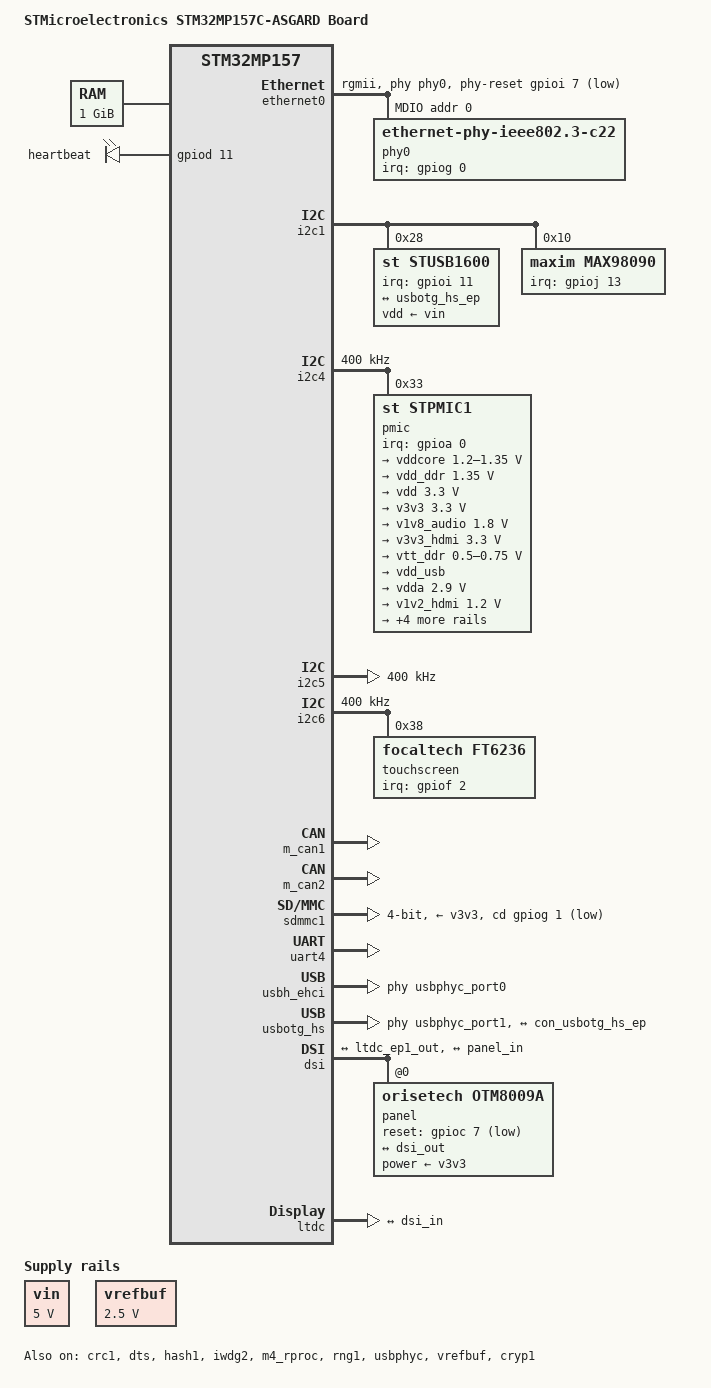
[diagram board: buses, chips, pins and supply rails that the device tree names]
// SPDX-License-Identifier: (GPL-2.0+ OR BSD-3-Clause)
/*
 * Copyright (C) STMicroelectronics 2019 - All Rights Reserved
 * Author: Alexandre Torgue <alexandre.torgue@st.com> for STMicroelectronics.
 */

/dts-v1/;

#include "stm32mp157.dtsi"
#include "stm32mp15xc.dtsi"
#include "stm32mp15-asgard-pinctrl.dtsi"

#include <dt-bindings/rtc/rtc-stm32.h>
#include <dt-bindings/gpio/gpio.h>
#include <dt-bindings/mfd/st,stpmic1.h>
#include <dt-bindings/net/ti-dp83867.h>

/ {
	model = "STMicroelectronics STM32MP157C-ASGARD Board";
	compatible = "st,stm32mp157-asgard", "st,stm32mp157";

	aliases {
		ethernet0 = &ethernet0;
		serial0 = &uart4;
		serial1 = &usart3;
		serial2 = &uart7;
		serial3 = &usart2;
	};

	chosen {
		stdout-path = "serial0:115200n8";
	};
	
	memory@c0000000 {
		device_type = "memory";
		reg = <0xc0000000 0x40000000>;
	};

	reserved-memory {
		#address-cells = <1>;
		#size-cells = <1>;
		ranges;

		mcuram2: mcuram2@10000000 {
			compatible = "shared-dma-pool";
			reg = <0x10000000 0x40000>;
			no-map;
		};

		vdev0vring0: vdev0vring0@10040000 {
			compatible = "shared-dma-pool";
			reg = <0x10040000 0x1000>;
			no-map;
		};

		vdev0vring1: vdev0vring1@10041000 {
			compatible = "shared-dma-pool";
			reg = <0x10041000 0x1000>;
			no-map;
		};

		vdev0buffer: vdev0buffer@10042000 {
			compatible = "shared-dma-pool";
			reg = <0x10042000 0x4000>;
			no-map;
		};

		mcuram: mcuram@30000000 {
			compatible = "shared-dma-pool";
			reg = <0x30000000 0x40000>;
			no-map;
		};

		retram: retram@38000000 {
			compatible = "shared-dma-pool";
			reg = <0x38000000 0x10000>;
			no-map;
		};

		gpu_reserved: gpu@d4000000 {
			reg = <0xd4000000 0x4000000>;
			no-map;
		};
	};

	led {
		compatible = "gpio-leds";
		led-blue {
			label = "heartbeat";
			gpios = <&gpiod 11 GPIO_ACTIVE_HIGH>;
			linux,default-trigger = "heartbeat";
			default-state = "off";
		};
	};

	sound {
		compatible = "audio-graph-card";
		label = "STM32MP1-DK";
		routing =
			"Playback" , "MCLK",
			"Capture" , "MCLK",
			"MICL" , "Mic Bias";
		/*dais = <&sai2a_port &sai2b_port &i2s2_port>;*/
		status = "okay";
	};

	vin: vin {
		compatible = "regulator-fixed";
		regulator-name = "vin";
		regulator-min-microvolt = <5000000>;
		regulator-max-microvolt = <5000000>;
		regulator-always-on;
	};	
};

&adc {
	pinctrl-names = "default";
	pinctrl-0 = <&adc12_ain_pins_a>, <&adc12_usb_cc_pins_a>;
	vdd-supply = <&vdd>;
	vdda-supply = <&vdd>;
	vref-supply = <&vrefbuf>;
	status = "disabled";
	
	adc1: adc@0 {
		/*
		 * Type-C USB_PWR_CC1 & USB_PWR_CC2 on in18 & in19.
		 * Use at least 5 * RC time, e.g. 5 * (Rp + Rd) * C:
		 * 5 * (56 + 47kOhms) * 5pF => 2.5us.
		 * Use arbitrary margin here (e.g. 5us).
		 */
		st,min-sample-time-nsecs = <5000>;
		/* AIN connector, USB Type-C CC1 & CC2 */
		st,adc-channels = <0 1 6 13 18 19>;
		status = "okay";
	};
	
	adc2: adc@100 {
		/* AIN connector, USB Type-C CC1 & CC2 */
		st,adc-channels = <0 1 2 6 18 19>;
		st,min-sample-time-nsecs = <5000>;
		status = "okay";
	};
};

&crc1 {
	status = "okay";
};

&dts {
	status = "okay";
};

&ethernet0 {
	status = "okay";
	pinctrl-0 = <&ethernet0_rgmii_pins_a>;
	pinctrl-1 = <&ethernet0_rgmii_sleep_pins_a>;
	pinctrl-names = "default", "sleep";
	phy-mode = "rgmii";
	max-speed = <1000>;
	phy-handle = <&phy0>;
	phy-reset-gpios = <&gpioi 7 GPIO_ACTIVE_LOW>;
/*	
       mdio0 {
               #address-cells = <1>;
               #size-cells = <0>;
               compatible = "snps,dwmac-mdio";
               phy0: ethernet-phy@0 {
			reg = <1>;
			interrupt-parent = <&gpiog>;
			interrupts = <0 IRQ_TYPE_LEVEL_LOW>;
               };
           };
*/
           
	mdio {
		#address-cells = <1>;
		#size-cells = <0>;

		phy0: ethernet-phy@0 {
			compatible = "ethernet-phy-ieee802.3-c22";
			reg = <0>;
			interrupt-parent = <&gpiog>;
			interrupts = <0 IRQ_TYPE_LEVEL_LOW>;

			ti,rx-internal-delay = <DP83867_RGMIIDCTL_2_50_NS>;
			ti,tx-internal-delay = <DP83867_RGMIIDCTL_2_50_NS>;
			ti,fifo-depth = <DP83867_PHYCR_FIFO_DEPTH_4_B_NIB>;
			ti,min-output-impedance;
			ti,dp83867-rxctrl-strap-quirk;					
			/* LED1: Link/Activity, LED2: error */
			ti,led-function = <0x0db0>;
			/* active low, LED1/2 driven by phy */
			ti,led-ctrl = <0x1001>;
		};  
	};                    
};

&gpu {
	contiguous-area = <&gpu_reserved>;
};

&hash1 {
	status = "okay";
};

&i2c1 {
	pinctrl-names = "default", "sleep";
	pinctrl-0 = <&i2c1_pins_a>;
	pinctrl-1 = <&i2c1_sleep_pins_a>;
	i2c-scl-rising-time-ns = <100>;
	i2c-scl-falling-time-ns = <7>;
	/delete-property/dmas;
	/delete-property/dma-names;
	status = "okay";
	
	stusb1600@28 {
		compatible = "st,stusb1600";
		reg = <0x28>;
		interrupts = <11 IRQ_TYPE_EDGE_FALLING>;
		interrupt-parent = <&gpioi>;
		pinctrl-names = "default";
		pinctrl-0 = <&stusb1600_pins_a>;
		vdd-supply = <&vin>;
		status = "okay";
		
		connector {
			compatible = "usb-c-connector";
			label = "USB-C";
			power-role = "dual";
			typec-power-opmode = "default";

			port {
				con_usbotg_hs_ep: endpoint {
					remote-endpoint = <&usbotg_hs_ep>;
				};
			};
		};
	};
	
	max98090@10 {
		compatible = "maxim,max98090";
		reg = <0x10>;
		interrupt-parent = <&gpioj>;
		interrupts = <13 IRQ_TYPE_NONE>;		
		/*clocks = <&i2s3>;
		clock-names = "MCLK";*/
		status = "okay";	
		
		max98090_port: port {
			#address-cells = <1>;
			#size-cells = <0>;

			max98090_tx_endpoint: endpoint@0 {
				reg = <0>;
				/*remote-endpoint = <&sai2a_endpoint>;*/
				frame-master;
				bitclock-master;
			};

			max98090_rx_endpoint: endpoint@1 {
				reg = <1>;
				/*remote-endpoint = <&sai2b_endpoint>;*/
				frame-master;
				bitclock-master;
			};
		};			
	};		
};

&i2c4 {
	pinctrl-names = "default", "sleep";
	pinctrl-0 = <&i2c4_pins_a>;
	pinctrl-1 = <&i2c4_sleep_pins_a>;
	i2c-scl-rising-time-ns = <185>;
	i2c-scl-falling-time-ns = <20>;
	clock-frequency = <400000>;
	/* spare dmas for other usage */
	/delete-property/dmas;
	/delete-property/dma-names;
	status = "okay";
	
	pmic: stpmic@33 {
		compatible = "st,stpmic1";
		reg = <0x33>;
		interrupts-extended = <&gpioa 0 IRQ_TYPE_EDGE_FALLING>;
		interrupt-controller;
		#interrupt-cells = <2>;
		status = "okay";

		regulators {
			compatible = "st,stpmic1-regulators";
			buck1-supply = <&vin>;
			buck2-supply = <&vin>;
			buck3-supply = <&vin>;
			buck4-supply = <&vin>;
			ldo1-supply = <&v3v3>;
			ldo2-supply = <&vin>;
			ldo3-supply = <&vdd_ddr>;
			ldo4-supply = <&vin>;
			ldo5-supply = <&vin>;
			ldo6-supply = <&v3v3>;
			vref_ddr-supply = <&vin>;
			boost-supply = <&vin>;
			pwr_sw1-supply = <&bst_out>;
			pwr_sw2-supply = <&bst_out>;

			vddcore: buck1 {
				regulator-name = "vddcore";
				regulator-min-microvolt = <1200000>;
				regulator-max-microvolt = <1350000>;
				regulator-always-on;
				regulator-initial-mode = <0>;
				regulator-over-current-protection;
			};

			vdd_ddr: buck2 {
				regulator-name = "vdd_ddr";
				regulator-min-microvolt = <1350000>;
				regulator-max-microvolt = <1350000>;
				regulator-always-on;
				regulator-initial-mode = <0>;
				regulator-over-current-protection;
			};

			vdd: buck3 {
				regulator-name = "vdd";
				regulator-min-microvolt = <3300000>;
				regulator-max-microvolt = <3300000>;
				regulator-always-on;
				st,mask-reset;
				regulator-initial-mode = <0>;
				regulator-over-current-protection;
			};

			v3v3: buck4 {
				regulator-name = "v3v3";
				regulator-min-microvolt = <3300000>;
				regulator-max-microvolt = <3300000>;
				regulator-always-on;
				regulator-over-current-protection;
				regulator-initial-mode = <0>;
			};

			v1v8_audio: ldo1 {
				regulator-name = "v1v8_audio";
				regulator-min-microvolt = <1800000>;
				regulator-max-microvolt = <1800000>;
				regulator-always-on;
				interrupts = <IT_CURLIM_LDO1 0>;
			};

			v3v3_hdmi: ldo2 {
				regulator-name = "v3v3_hdmi";
				regulator-min-microvolt = <3300000>;
				regulator-max-microvolt = <3300000>;
				regulator-always-on;
				interrupts = <IT_CURLIM_LDO2 0>;
			};

			vtt_ddr: ldo3 {
				regulator-name = "vtt_ddr";
				regulator-min-microvolt = <500000>;
				regulator-max-microvolt = <750000>;
				regulator-always-on;
				regulator-over-current-protection;
			};

			vdd_usb: ldo4 {
				regulator-name = "vdd_usb";
				interrupts = <IT_CURLIM_LDO4 0>;
			};

			vdda: ldo5 {
				regulator-name = "vdda";
				regulator-min-microvolt = <2900000>;
				regulator-max-microvolt = <2900000>;
				interrupts = <IT_CURLIM_LDO5 0>;
				regulator-boot-on;
			};

			v1v2_hdmi: ldo6 {
				regulator-name = "v1v2_hdmi";
				regulator-min-microvolt = <1200000>;
				regulator-max-microvolt = <1200000>;
				regulator-always-on;
				interrupts = <IT_CURLIM_LDO6 0>;
			};

			vref_ddr: vref_ddr {
				regulator-name = "vref_ddr";
				regulator-always-on;
			};

			 bst_out: boost {
				regulator-name = "bst_out";
				interrupts = <IT_OCP_BOOST 0>;
			 };

			vbus_otg: pwr_sw1 {
				regulator-name = "vbus_otg";
				interrupts = <IT_OCP_OTG 0>;
			 };

			 vbus_sw: pwr_sw2 {
				regulator-name = "vbus_sw";
				interrupts = <IT_OCP_SWOUT 0>;
				regulator-active-discharge = <1>;
			 };
		};

		onkey {
			compatible = "st,stpmic1-onkey";
			interrupts = <IT_PONKEY_F 0>, <IT_PONKEY_R 0>;
			interrupt-names = "onkey-falling", "onkey-rising";
			power-off-time-sec = <10>;
			status = "okay";
		};

		watchdog {
			compatible = "st,stpmic1-wdt";
			status = "disabled";
		};
	};
};

&i2c5 {
	pinctrl-names = "default", "sleep";
	pinctrl-0 = <&i2c5_pins_a>;
	pinctrl-1 = <&i2c5_sleep_pins_a>;
	i2c-scl-rising-time-ns = <185>;
	i2c-scl-falling-time-ns = <20>;
	clock-frequency = <400000>;
	/* spare dmas for other usage */
	/delete-property/dmas;
	/delete-property/dma-names;
	status = "okay";
};

&i2c6 {
	pinctrl-names = "default", "sleep";
	pinctrl-0 = <&i2c6_pins_b>;
	pinctrl-1 = <&i2c6_sleep_pins_b>;
	i2c-scl-rising-time-ns = <185>;
	i2c-scl-falling-time-ns = <20>;
	clock-frequency = <400000>;
	/* spare dmas for other usage */
	/delete-property/dmas;
	/delete-property/dma-names;
	status = "okay";
	
	touchscreen@38 {
		compatible = "focaltech,ft6236";
		reg = <0x38>;
		interrupts = <2 2>;
		interrupt-parent = <&gpiof>;
		interrupt-controller;
		touchscreen-size-x = <480>;
		touchscreen-size-y = <800>;
		status = "okay";
	};	
};

&m_can1 {
	pinctrl-names = "default", "sleep";
	pinctrl-0 = <&m_can1_pins_a>;
	pinctrl-1 = <&m_can1_sleep_pins_a>;
	status = "okay";
};

&m_can2 {
	pinctrl-names = "default", "sleep";
	pinctrl-0 = <&m_can2_pins_a>;
	pinctrl-1 = <&m_can2_sleep_pins_a>;
	status = "okay";
};

&ipcc {
	status = "okay";
};

&iwdg2 {
	timeout-sec = <32>;
	status = "okay";
};

&m4_rproc {
	memory-region = <&retram>, <&mcuram>, <&mcuram2>, <&vdev0vring0>,
			<&vdev0vring1>, <&vdev0buffer>;
	mboxes = <&ipcc 0>, <&ipcc 1>, <&ipcc 2>;
	mbox-names = "vq0", "vq1", "shutdown";
	interrupt-parent = <&exti>;
	interrupts = <68 1>;
	status = "okay";
};

&pwr_regulators {
	vdd-supply = <&vdd>;
	vdd_3v3_usbfs-supply = <&vdd_usb>;
};

&rng1 {
	status = "okay";
};

&sdmmc1 {
	pinctrl-names = "default", "opendrain", "sleep";
	pinctrl-0 = <&sdmmc1_b4_pins_a>;
	pinctrl-1 = <&sdmmc1_b4_od_pins_a>;
	pinctrl-2 = <&sdmmc1_b4_sleep_pins_a>;
	cd-gpios = <&gpiog 1 (GPIO_ACTIVE_LOW | GPIO_PULL_UP)>;
	disable-wp;
	st,neg-edge;
	bus-width = <4>;
	vmmc-supply = <&v3v3>;
	status = "okay";
};

&sdmmc3 {
	pinctrl-names = "default", "opendrain", "sleep";
	pinctrl-0 = <&sdmmc3_b4_pins_a>;
	pinctrl-1 = <&sdmmc3_b4_od_pins_a>;
	pinctrl-2 = <&sdmmc3_b4_sleep_pins_a>;
	broken-cd;
	st,neg-edge;
	bus-width = <4>;
	vmmc-supply = <&v3v3>;
	status = "disabled";
};

&timers1 {
	/* spare dmas for other usage */
	/delete-property/dmas;
	/delete-property/dma-names;
	status = "disabled";
	
	pwm {
		pinctrl-0 = <&pwm1_pins_a>;
		pinctrl-1 = <&pwm1_sleep_pins_a>;
		pinctrl-names = "default", "sleep";
		status = "okay";
	};
	
	timer@0 {
		status = "okay";
	};
};

&timers3 {
	/delete-property/dmas;
	/delete-property/dma-names;
	status = "disabled";
	
	pwm {
		pinctrl-0 = <&pwm3_pins_a>;
		pinctrl-1 = <&pwm3_sleep_pins_a>;
		pinctrl-names = "default", "sleep";
		status = "okay";
	};
	
	timer@2 {
		status = "okay";
	};
};

&timers4 {
	/delete-property/dmas;
	/delete-property/dma-names;
	status = "disabled";
	
	pwm {
		pinctrl-0 = <&pwm4_pins_a &pwm4_pins_b>;
		pinctrl-1 = <&pwm4_sleep_pins_a &pwm4_sleep_pins_b>;
		pinctrl-names = "default", "sleep";
		status = "okay";
	};
	
	timer@3 {
		status = "okay";
	};
};

&timers5 {
	/delete-property/dmas;
	/delete-property/dma-names;
	status = "disabled";
	
	pwm {
		pinctrl-0 = <&pwm5_pins_a>;
		pinctrl-1 = <&pwm5_sleep_pins_a>;
		pinctrl-names = "default", "sleep";
		status = "okay";
	};
	
	timer@4 {
		status = "okay";
	};
};

&timers6 {
	/delete-property/dmas;
	/delete-property/dma-names;
	status = "disabled";
	
	timer@5 {
		status = "okay";
	};
};

&timers12 {
	/delete-property/dmas;
	/delete-property/dma-names;
	status = "disabled";
	
	pwm {
		pinctrl-0 = <&pwm12_pins_a>;
		pinctrl-1 = <&pwm12_sleep_pins_a>;
		pinctrl-names = "default", "sleep";
		status = "okay";
	};
	
	timer@11 {
		status = "okay";
	};
};

&uart4 {
	pinctrl-names = "default", "sleep", "idle";
	pinctrl-0 = <&uart4_pins_a>;
	pinctrl-1 = <&uart4_sleep_pins_a>;
	pinctrl-2 = <&uart4_idle_pins_a>;
	status = "okay";
};

&uart7 {
	pinctrl-names = "default", "sleep", "idle";
	pinctrl-0 = <&uart7_pins_c>;
	pinctrl-1 = <&uart7_sleep_pins_c>;
	pinctrl-2 = <&uart7_idle_pins_c>;
	status = "disabled";
};

&usart3 {
	pinctrl-names = "default", "sleep", "idle";
	pinctrl-0 = <&usart3_pins_c>;
	pinctrl-1 = <&usart3_sleep_pins_c>;
	pinctrl-2 = <&usart3_idle_pins_c>;
	uart-has-rtscts;
	status = "disabled";
};

&usbh_ehci {
	phys = <&usbphyc_port0>;
	status = "okay";
};

&usbotg_hs {
	phys = <&usbphyc_port1 0>;
	phy-names = "usb2-phy";
	usb-role-switch;
	status = "okay";

	port {
		usbotg_hs_ep: endpoint {
			remote-endpoint = <&con_usbotg_hs_ep>;
		};
	};
};

&usbphyc {
	status = "okay";
};

&usbphyc_port0 {
	phy-supply = <&vdd_usb>;
};

&usbphyc_port1 {
	phy-supply = <&vdd_usb>;
};

&vrefbuf {
	regulator-min-microvolt = <2500000>;
	regulator-max-microvolt = <2500000>;
	vdda-supply = <&vdd>;
	status = "okay";
};

&cryp1 {
	status = "okay";
};

&dsi {
	phy-dsi-supply = <&reg18>;
	status = "okay";
	
	ports {
		port@0 {
			reg = <0>;
			dsi_in: endpoint {
				remote-endpoint = <&ltdc_ep1_out>;
			};
		};

		port@1 {
			reg = <1>;
			dsi_out: endpoint {
				remote-endpoint = <&panel_in>;
			};
		};
	};

	panel@0 {
		compatible = "orisetech,otm8009a";
		reg = <0>;
		reset-gpios = <&gpioc 7 GPIO_ACTIVE_LOW>;
		power-supply = <&v3v3>;
		status = "okay";

		port {
			panel_in: endpoint {
				remote-endpoint = <&dsi_out>;
			};
		};
	};
};

&ltdc {
	pinctrl-names = "default", "sleep";
	/*pinctrl-0 = <&ltdc_pins_a>;
	pinctrl-1 = <&ltdc_sleep_pins_a>;*/
	status = "okay";

	port {
		ltdc_ep0_out: endpoint@0 {
			reg = <0>;
			/*remote-endpoint = <&sii9022_in>;*/
		};
	};	

	port {
		ltdc_ep1_out: endpoint@1 {
			reg = <1>;
			remote-endpoint = <&dsi_in>;
		};
	};		
};

&rtc {
	st,lsco = <RTC_OUT2_RMP>;
	pinctrl-0 = <&rtc_out2_rmp_pins_a>;
	pinctrl-names = "default";
};

